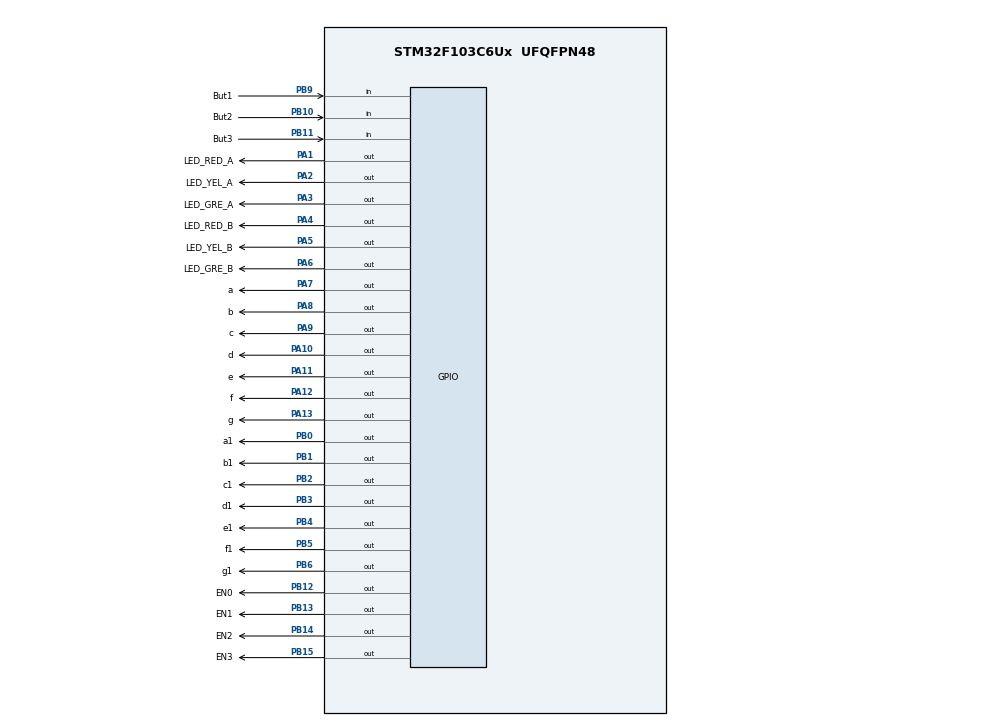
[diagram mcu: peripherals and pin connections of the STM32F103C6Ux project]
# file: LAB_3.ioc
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Mcu.Family=STM32F1
Mcu.Name=STM32F103C6Ux
Mcu.Package=UFQFPN48
NVIC.PriorityGroup=NVIC_PRIORITYGROUP_4
NVIC.TIM2_IRQn=true\:0\:0\:false\:false\:true\:true\:true
PA1.GPIO_Label=LED_RED_A
PA1.Signal=GPIO_Output
PA10.GPIO_Label=d
PA10.Signal=GPIO_Output
PA11.GPIO_Label=e
PA11.Signal=GPIO_Output
PA12.GPIO_Label=f
PA12.Signal=GPIO_Output
PA13.GPIO_Label=g
PA13.Signal=GPIO_Output
PA2.GPIO_Label=LED_YEL_A
PA2.Signal=GPIO_Output
PA3.GPIO_Label=LED_GRE_A
PA3.Signal=GPIO_Output
PA4.GPIO_Label=LED_RED_B
PA4.Signal=GPIO_Output
PA5.GPIO_Label=LED_YEL_B
PA5.Signal=GPIO_Output
PA6.GPIO_Label=LED_GRE_B
PA6.Signal=GPIO_Output
PA7.GPIO_Label=a
PA7.Signal=GPIO_Output
PA8.GPIO_Label=b
PA8.Signal=GPIO_Output
PA9.GPIO_Label=c
PA9.Signal=GPIO_Output
PB0.GPIO_Label=a1
PB0.Signal=GPIO_Output
PB1.GPIO_Label=b1
PB1.Signal=GPIO_Output
PB10.GPIO_Label=But2
PB10.GPIO_PuPd=GPIO_PULLUP
PB10.Signal=GPIO_Input
PB11.GPIO_Label=But3
PB11.GPIO_PuPd=GPIO_PULLUP
PB11.Signal=GPIO_Input
PB12.GPIO_Label=EN0
PB12.Signal=GPIO_Output
PB13.GPIO_Label=EN1
PB13.Signal=GPIO_Output
PB14.GPIO_Label=EN2
PB14.Signal=GPIO_Output
PB15.GPIO_Label=EN3
PB15.Signal=GPIO_Output
PB2.GPIO_Label=c1
PB2.Signal=GPIO_Output
PB3.GPIO_Label=d1
PB3.Signal=GPIO_Output
PB4.GPIO_Label=e1
PB4.Signal=GPIO_Output
PB5.GPIO_Label=f1
PB5.Signal=GPIO_Output
PB6.GPIO_Label=g1
PB6.Signal=GPIO_Output
PB9.GPIO_Label=But1
PB9.GPIO_PuPd=GPIO_PULLUP
PB9.Signal=GPIO_Input
ProjectManager.HeapSize=0x200
ProjectManager.StackSize=0x400
ProjectManager.TargetToolchain=STM32CubeIDE
RCC.APB1Freq_Value=8000000
RCC.APB2Freq_Value=8000000
TIM2.Period=9
TIM2.Prescaler=7999
VP_SYS_VS_ND.Mode=No_Debug
VP_TIM2_VS_ClockSourceINT.Mode=Internal
board=custom

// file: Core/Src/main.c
/* USER CODE BEGIN Header */
/**
  ******************************************************************************
  * @file           : main.c
  * @brief          : Main program body
  ******************************************************************************
  * @attention
  *
  * <h2><center>&copy; Copyright (c) 2026 STMicroelectronics.
  * All rights reserved.</center></h2>
  *
  * This software component is licensed by ST under BSD 3-Clause license,
  * the "License"; You may not use this file except in compliance with the
  * License. You may obtain a copy of the License at:
  *                        opensource.org/licenses/BSD-3-Clause
  *
  ******************************************************************************
  */
/* USER CODE END Header */
#include <software_timer.h>
#include "main.h"

/* USER CODE BEGIN Includes */
#include "config.h"
#include "software_timer.h"
#include "button.h"
#include "led_display.h"
#include "fsm_setting.h"
#include "traffic_state.h"
/* USER CODE END Includes */

TIM_HandleTypeDef htim2;

void SystemClock_Config(void);
static void MX_GPIO_Init(void);
static void MX_TIM2_Init(void);

int main(void)
{

  /* MCU Configuration--------------------------------------------------------*/

  /* Reset of all peripherals, Initializes the Flash interface and the Systick. */
  HAL_Init();

  /* Configure the system clock */
  SystemClock_Config();

  /* Initialize all configured peripherals */
  MX_GPIO_Init();
  MX_TIM2_Init();
  /* USER CODE BEGIN 2 */
  SoftwareTimer_Init();
  Button_Init();
  LED_Display_Init();
  FSM_Setting_Init();
  TrafficFSM_Init();

  /* USER CODE END 2 */

  /* Infinite loop */
  /* USER CODE BEGIN WHILE */
  /* Enter the first phase. This writes the initial lamps and starts AUTO_PHASE. */
  TrafficFSM_TransitionTo(AUTO_RED_GREEN);

  /* Start TIM2 only after all software modules and initial state are ready. */
  if (HAL_TIM_Base_Start_IT(&htim2) != HAL_OK) {
      Error_Handler();
  }

uint8_t manual_mode_active = 0U;

  while (1)
  {
	  /* These are debounced one-shot events produced by the TIM2 scan routine. */
	      uint8_t btn1 = Button_GetPressedEvent(BUTTON_MODE);
	      uint8_t btn2 = Button_GetPressedEvent(BUTTON_INCREMENT);
	      uint8_t btn3 = Button_GetPressedEvent(BUTTON_CONFIRM);

	      /* One global status selects exactly one FSM module for this iteration. */
	      TrafficFSM_Update(btn1, btn2, btn3);

	      /* Non-blocking display multiplexing remains active in every state. */
	      LED_Display_Task();

    /* USER CODE END WHILE */

  }
}

void SystemClock_Config(void)
{
  RCC_OscInitTypeDef RCC_OscInitStruct = {0};
  RCC_ClkInitTypeDef RCC_ClkInitStruct = {0};

  /** Initializes the RCC Oscillators according to the specified parameters
  * in the RCC_OscInitTypeDef structure.
  */
  RCC_OscInitStruct.OscillatorType = RCC_OSCILLATORTYPE_HSI;
  RCC_OscInitStruct.HSIState = RCC_HSI_ON;
  RCC_OscInitStruct.HSICalibrationValue = RCC_HSICALIBRATION_DEFAULT;
  RCC_OscInitStruct.PLL.PLLState = RCC_PLL_NONE;
  if (HAL_RCC_OscConfig(&RCC_OscInitStruct) != HAL_OK)
  {
    Error_Handler();
  }
  /** Initializes the CPU, AHB and APB buses clocks
  */
  RCC_ClkInitStruct.ClockType = RCC_CLOCKTYPE_HCLK|RCC_CLOCKTYPE_SYSCLK
                              |RCC_CLOCKTYPE_PCLK1|RCC_CLOCKTYPE_PCLK2;
  RCC_ClkInitStruct.SYSCLKSource = RCC_SYSCLKSOURCE_HSI;
  RCC_ClkInitStruct.AHBCLKDivider = RCC_SYSCLK_DIV1;
  RCC_ClkInitStruct.APB1CLKDivider = RCC_HCLK_DIV1;
  RCC_ClkInitStruct.APB2CLKDivider = RCC_HCLK_DIV1;

  if (HAL_RCC_ClockConfig(&RCC_ClkInitStruct, FLASH_LATENCY_0) != HAL_OK)
  {
    Error_Handler();
  }
}

static void MX_TIM2_Init(void)
{

  TIM_ClockConfigTypeDef sClockSourceConfig = {0};
  TIM_MasterConfigTypeDef sMasterConfig = {0};

  htim2.Instance = TIM2;
  htim2.Init.Prescaler = 7999;
  htim2.Init.CounterMode = TIM_COUNTERMODE_UP;
  htim2.Init.Period = 9;
  htim2.Init.ClockDivision = TIM_CLOCKDIVISION_DIV1;
  htim2.Init.AutoReloadPreload = TIM_AUTORELOAD_PRELOAD_DISABLE;
  if (HAL_TIM_Base_Init(&htim2) != HAL_OK)
  {
    Error_Handler();
  }
  sClockSourceConfig.ClockSource = TIM_CLOCKSOURCE_INTERNAL;
  if (HAL_TIM_ConfigClockSource(&htim2, &sClockSourceConfig) != HAL_OK)
  {
    Error_Handler();
  }
  sMasterConfig.MasterOutputTrigger = TIM_TRGO_RESET;
  sMasterConfig.MasterSlaveMode = TIM_MASTERSLAVEMODE_DISABLE;
  if (HAL_TIMEx_MasterConfigSynchronization(&htim2, &sMasterConfig) != HAL_OK)
  {
    Error_Handler();
  }

}

static void MX_GPIO_Init(void)
{
  GPIO_InitTypeDef GPIO_InitStruct = {0};

  /* GPIO Ports Clock Enable */
  __HAL_RCC_GPIOA_CLK_ENABLE();
  __HAL_RCC_GPIOB_CLK_ENABLE();

  /*Configure GPIO pin Output Level */
  HAL_GPIO_WritePin(GPIOA, LED_RED_A_Pin|LED_YEL_A_Pin|LED_GRE_A_Pin|LED_RED_B_Pin
                          |LED_YEL_B_Pin|LED_GRE_B_Pin|a_Pin|b_Pin
                          |c_Pin|d_Pin|e_Pin|f_Pin
                          |g_Pin, GPIO_PIN_RESET);

  /*Configure GPIO pin Output Level */
  HAL_GPIO_WritePin(GPIOB, a1_Pin|b1_Pin|c1_Pin|EN0_Pin
                          |EN1_Pin|EN2_Pin|EN3_Pin|d1_Pin
                          |e1_Pin|f1_Pin|g1_Pin, GPIO_PIN_RESET);

  /*Configure GPIO pins : LED_RED_A_Pin LED_YEL_A_Pin LED_GRE_A_Pin LED_RED_B_Pin
                           LED_YEL_B_Pin LED_GRE_B_Pin a_Pin b_Pin
                           c_Pin d_Pin e_Pin f_Pin
                           g_Pin */
  GPIO_InitStruct.Pin = LED_RED_A_Pin|LED_YEL_A_Pin|LED_GRE_A_Pin|LED_RED_B_Pin
                          |LED_YEL_B_Pin|LED_GRE_B_Pin|a_Pin|b_Pin
                          |c_Pin|d_Pin|e_Pin|f_Pin
                          |g_Pin;
  GPIO_InitStruct.Mode = GPIO_MODE_OUTPUT_PP;
  GPIO_InitStruct.Pull = GPIO_NOPULL;
  GPIO_InitStruct.Speed = GPIO_SPEED_FREQ_LOW;
  HAL_GPIO_Init(GPIOA, &GPIO_InitStruct);

  /*Configure GPIO pins : a1_Pin b1_Pin c1_Pin EN0_Pin
                           EN1_Pin EN2_Pin EN3_Pin d1_Pin
                           e1_Pin f1_Pin g1_Pin */
  GPIO_InitStruct.Pin = a1_Pin|b1_Pin|c1_Pin|EN0_Pin
                          |EN1_Pin|EN2_Pin|EN3_Pin|d1_Pin
                          |e1_Pin|f1_Pin|g1_Pin;
  GPIO_InitStruct.Mode = GPIO_MODE_OUTPUT_PP;
  GPIO_InitStruct.Pull = GPIO_NOPULL;
  GPIO_InitStruct.Speed = GPIO_SPEED_FREQ_LOW;
  HAL_GPIO_Init(GPIOB, &GPIO_InitStruct);

  /*Configure GPIO pins : But2_Pin But3_Pin But1_Pin */
  GPIO_InitStruct.Pin = But2_Pin|But3_Pin|But1_Pin;
  GPIO_InitStruct.Mode = GPIO_MODE_INPUT;
  GPIO_InitStruct.Pull = GPIO_PULLUP;
  HAL_GPIO_Init(GPIOB, &GPIO_InitStruct);

}

void Error_Handler(void)
{
  __disable_irq();
  while (1)
  {
  }
}

/************************ (C) COPYRIGHT STMicroelectronics *****END OF FILE****/
